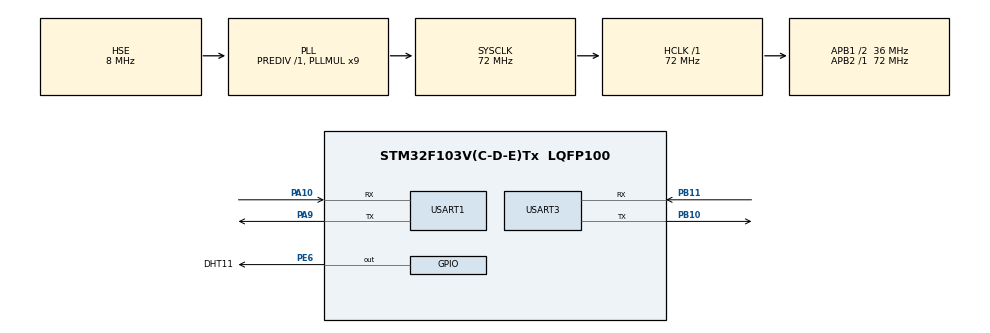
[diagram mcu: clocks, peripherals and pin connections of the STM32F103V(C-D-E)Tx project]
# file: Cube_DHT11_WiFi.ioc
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Mcu.Family=STM32F1
Mcu.Name=STM32F103V(C-D-E)Tx
Mcu.Package=LQFP100
NVIC.PriorityGroup=NVIC_PRIORITYGROUP_4
NVIC.USART3_IRQn=true\:0\:0\:false\:false\:true\:true\:true
OSC_IN.Mode=HSE-External-Oscillator
OSC_IN.Signal=RCC_OSC_IN
OSC_OUT.Mode=HSE-External-Oscillator
OSC_OUT.Signal=RCC_OSC_OUT
PA10.Mode=Asynchronous
PA10.Signal=USART1_RX
PA13.Mode=Serial_Wire
PA13.Signal=SYS_JTMS-SWDIO
PA14.Mode=Serial_Wire
PA14.Signal=SYS_JTCK-SWCLK
PA9.Mode=Asynchronous
PA9.Signal=USART1_TX
PB10.Mode=Asynchronous
PB10.Signal=USART3_TX
PB11.Mode=Asynchronous
PB11.Signal=USART3_RX
PC14-OSC32_IN.Mode=LSE-External-Oscillator
PC14-OSC32_IN.Signal=RCC_OSC32_IN
PC15-OSC32_OUT.Mode=LSE-External-Oscillator
PC15-OSC32_OUT.Signal=RCC_OSC32_OUT
PE6.GPIO_Label=DHT11
PE6.GPIO_Speed=GPIO_SPEED_FREQ_HIGH
PE6.PinState=GPIO_PIN_SET
PE6.Signal=GPIO_Output
ProjectManager.HeapSize=0x200
ProjectManager.StackSize=0x400
ProjectManager.TargetToolchain=MDK-ARM V5.32
RCC.AHBFreq_Value=72000000
RCC.APB1CLKDivider=RCC_HCLK_DIV2
RCC.APB1Freq_Value=36000000
RCC.APB1TimFreq_Value=72000000
RCC.APB2Freq_Value=72000000
RCC.APB2TimFreq_Value=72000000
RCC.HCLKFreq_Value=72000000
RCC.PLLMUL=RCC_PLL_MUL9
RCC.PLLSourceVirtual=RCC_PLLSOURCE_HSE
RCC.SYSCLKFreq_VALUE=72000000
RCC.SYSCLKSource=RCC_SYSCLKSOURCE_PLLCLK
RCC.USBFreq_Value=72000000
TIM6.Prescaler=71
USART1.VirtualMode=VM_ASYNC
USART3.VirtualMode=VM_ASYNC
VP_TIM6_VS_ClockSourceINT.Mode=Enable_Timer
board=custom

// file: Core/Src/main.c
/* USER CODE BEGIN Header */
/**
  ******************************************************************************
  * @file           : main.c
  * @brief          : Main program body
  ******************************************************************************
  * @attention
  *
  * Copyright (c) 2025 STMicroelectronics.
  * All rights reserved.
  *
  * This software is licensed under terms that can be found in the LICENSE file
  * in the root directory of this software component.
  * If no LICENSE file comes with this software, it is provided AS-IS.
  *
  ******************************************************************************
  */
/* USER CODE END Header */
#include "main.h"
#include "tim.h"
#include "usart.h"
#include "gpio.h"

/* USER CODE BEGIN Includes */
#include "DHT11.h"
#include "wifi.h"
/* USER CODE END Includes */

/* USER CODE BEGIN PV */
uint8_t buffer[1024];
uint16_t bufferLen;
uint8_t id;
/* USER CODE END PV */

void SystemClock_Config(void);

int main(void)
{
  /* USER CODE BEGIN 1 */
  DHT11_Data_TypeDef DHT11_DATA;
  /* USER CODE END 1 */

  /* MCU Configuration--------------------------------------------------------*/

  /* Reset of all peripherals, Initializes the Flash interface and the Systick. */
  HAL_Init();

  /* Configure the system clock */
  SystemClock_Config();

  /* Initialize all configured peripherals */
  MX_GPIO_Init();
  MX_USART1_UART_Init();
  MX_TIM6_Init();
  MX_USART3_UART_Init();
  /* USER CODE BEGIN 2 */
  printf("系统启动\n");
  WIFI_init(STA);         // 初始化wifi模块

  // 启动TCP服务器
  WIFI_TCP_serverStart();
  printf("TCP服务器已启动\n");
  /* USER CODE END 2 */

  /* Infinite loop */
  /* USER CODE BEGIN WHILE */
  while (1)
  {
    if (DHT11_STM32_data(&DHT11_DATA))
    {
      // 温度为零下
      if ((DHT11_DATA.temp_deci & 0x80) == 0x80)
      {
        DHT11_DATA.humi_deci &= 0x7f;
        // printf("当前湿度为：%d.%d%%RH，温度为：-%d.%d℃\n",
        //   DHT11_DATA.humi_int, DHT11_DATA.humi_deci, DHT11_DATA.temp_int, DHT11_DATA.temp_deci);

        // 格式化数据
        uint8_t buffer[64];
        int len = sprintf((char*)buffer, "Temp:-%d.%d℃,Humi:%d.%d%%\r\n",
            DHT11_DATA.temp_int, DHT11_DATA.temp_deci,
            DHT11_DATA.humi_int, DHT11_DATA.humi_deci);

        // 通过WiFi发送数据（假设连接ID为0）
        WIFI_ID_sendData(0, buffer, len);
        printf("数据已发送\n");
      }
      else
      {
        // printf("当前湿度为：%d.%d%%RH，温度为：%d.%d℃\n",
        //   DHT11_DATA.humi_int, DHT11_DATA.humi_deci, DHT11_DATA.temp_int, DHT11_DATA.temp_deci);

        // 格式化数据
        uint8_t buffer[64];
        int len = sprintf((char*)buffer, "Temp:%d.%d℃,Humi:%d.%d%%\r\n",
            DHT11_DATA.temp_int, DHT11_DATA.temp_deci,
            DHT11_DATA.humi_int, DHT11_DATA.humi_deci);

        // 通过WiFi发送数据（假设连接ID为0）
        WIFI_ID_sendData(0, buffer, len);
        printf("数据已发送\n");
      }
    }
    else
    {
        printf("DHT11读取失败\n");
    }

    // 从串口读取数据
    WIFI_ID_readData(buffer, &bufferLen, &id);

    // 如果接收到数据，就原样发回
    if (bufferLen > 0)
    {
      // printf("接收到数据。连接ID = %d， 对端IP:端口号 = %s:%d， 数据长度 = %d， 内容 = %.*s\n",
      //   id, ip, port, bufferLen, bufferLen, buffer);
      printf("接收到数据。连接ID = %d， 数据长度 = %d， 内容 = %.*s\n", id, bufferLen, bufferLen, buffer);

      WIFI_ID_sendData(id, buffer, bufferLen);

      // 将数据长度清0
      bufferLen = 0;
    }

    HAL_Delay(5000);
    /* USER CODE END WHILE */

  }
}

void SystemClock_Config(void)
{
  RCC_OscInitTypeDef RCC_OscInitStruct = {0};
  RCC_ClkInitTypeDef RCC_ClkInitStruct = {0};

  /** Initializes the RCC Oscillators according to the specified parameters
  * in the RCC_OscInitTypeDef structure.
  */
  RCC_OscInitStruct.OscillatorType = RCC_OSCILLATORTYPE_HSE;
  RCC_OscInitStruct.HSEState = RCC_HSE_ON;
  RCC_OscInitStruct.HSEPredivValue = RCC_HSE_PREDIV_DIV1;
  RCC_OscInitStruct.HSIState = RCC_HSI_ON;
  RCC_OscInitStruct.PLL.PLLState = RCC_PLL_ON;
  RCC_OscInitStruct.PLL.PLLSource = RCC_PLLSOURCE_HSE;
  RCC_OscInitStruct.PLL.PLLMUL = RCC_PLL_MUL9;
  if (HAL_RCC_OscConfig(&RCC_OscInitStruct) != HAL_OK)
  {
    Error_Handler();
  }
  /** Initializes the CPU, AHB and APB buses clocks
  */
  RCC_ClkInitStruct.ClockType = RCC_CLOCKTYPE_HCLK|RCC_CLOCKTYPE_SYSCLK
                              |RCC_CLOCKTYPE_PCLK1|RCC_CLOCKTYPE_PCLK2;
  RCC_ClkInitStruct.SYSCLKSource = RCC_SYSCLKSOURCE_PLLCLK;
  RCC_ClkInitStruct.AHBCLKDivider = RCC_SYSCLK_DIV1;
  RCC_ClkInitStruct.APB1CLKDivider = RCC_HCLK_DIV2;
  RCC_ClkInitStruct.APB2CLKDivider = RCC_HCLK_DIV1;

  if (HAL_RCC_ClockConfig(&RCC_ClkInitStruct, FLASH_LATENCY_2) != HAL_OK)
  {
    Error_Handler();
  }
}

void Error_Handler(void)
{
  __disable_irq();
  while (1)
  {
  }
}
